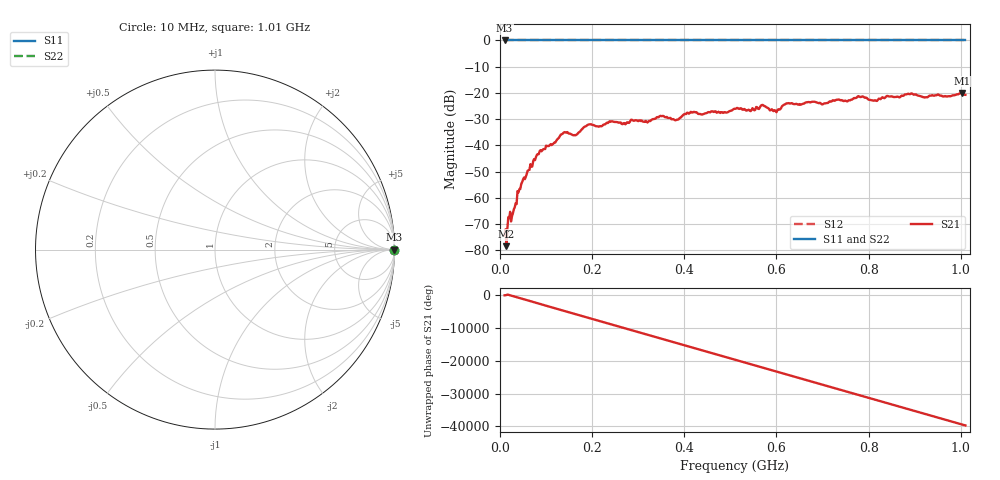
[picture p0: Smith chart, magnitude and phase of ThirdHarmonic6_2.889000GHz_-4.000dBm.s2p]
! 8/17/2025 7:56:50 AM
! C:\ANRITSUVNA\TEMP\TEMP.S2P
! CHANNEL.1
! TR.MEASUREMENT
! RAW.DATA
! RF.CORRECTION.OFF
! AVERAGING.OFF
! IF.BANDWIDTH: 5KHZ
! SWEEPTYPE:  FREQ.SWEEP(Linear)
! Reference Plane Port Info
! PORT:  PORT1  PORT2
! DISTANCE:  0  m  0  m
! TIME:  0  s  0  s
! PHASE.OFFSET:  0  deg.  0  deg.
! LOSS:  0  dB  0  dB
! REF.LOSS:  0  dB  0  dB
! REF.FREQ:  0  Hz  0  Hz
! Power Info
! POWER:  -20  dBm  -20  dBm
! EFF.POWER:  -20  dBm  -20  dBm
! SOURCE.ATTEN:  0  dB  0  dB
! TEST.ATTEN:  0  dB  0  dB
# GHZ S RI R 50.0
! FREQ.GHZ  S11RE  S11IM  S21RE  S21IM  S12RE  S12IM  S22RE  S22IM
!; PortSelection: Port_12
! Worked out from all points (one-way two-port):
!   501 points, 10 MHz to 1.01 GHz, reference 50 ohm
!   highest |S21| = -20.03 dB at 1.002 GHz (marker M1); lowest = -78.4 dB at 14 MHz (marker M2)
!   lowest |S11| = 0.0 dB at 10 MHz (marker M3)
!   |S11| at or under -10 dB: nowhere
!   |S22| runs from 0.0 to 0.0 dB; largest |S21 - S12| = 1.1
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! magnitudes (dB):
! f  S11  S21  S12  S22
! 10 MHz  0.0  -74.1  0.0  0.0
! 14 MHz  0.0  -78.4  0.0  0.0
! 42 MHz  0.0  -56.7  0.0  0.0
! 84 MHz  0.0  -43.4  0.0  0.0
! 136 MHz  0.0  -35.6  0.0  0.0
! 162 MHz  0.0  -36.1  0.0  0.0
! 178 MHz  0.0  -33.8  0.0  0.0
! 194 MHz  0.0  -32.0  0.0  0.0
! 322 MHz  0.0  -30.9  0.0  0.0
! 344 MHz  0.0  -29.3  0.0  0.0
! 384 MHz  0.0  -30.2  0.0  0.0
! 410 MHz  0.0  -27.9  0.0  0.0
! 510 MHz  0.0  -26.1  0.0  0.0
! 570 MHz  0.0  -24.6  0.0  0.0
! 598 MHz  0.0  -26.9  0.0  0.0
! 622 MHz  0.0  -24.0  0.0  0.0
! 678 MHz  0.0  -23.4  0.0  0.0
! 782 MHz  0.0  -21.6  0.0  0.0
! 814 MHz  0.0  -22.8  0.0  0.0
! 844 MHz  0.0  -21.4  0.0  0.0
! 1.002 GHz  0.0  -20.0  0.0  0.0
! 1.01 GHz  0.0  -20.7  0.0  0.0
